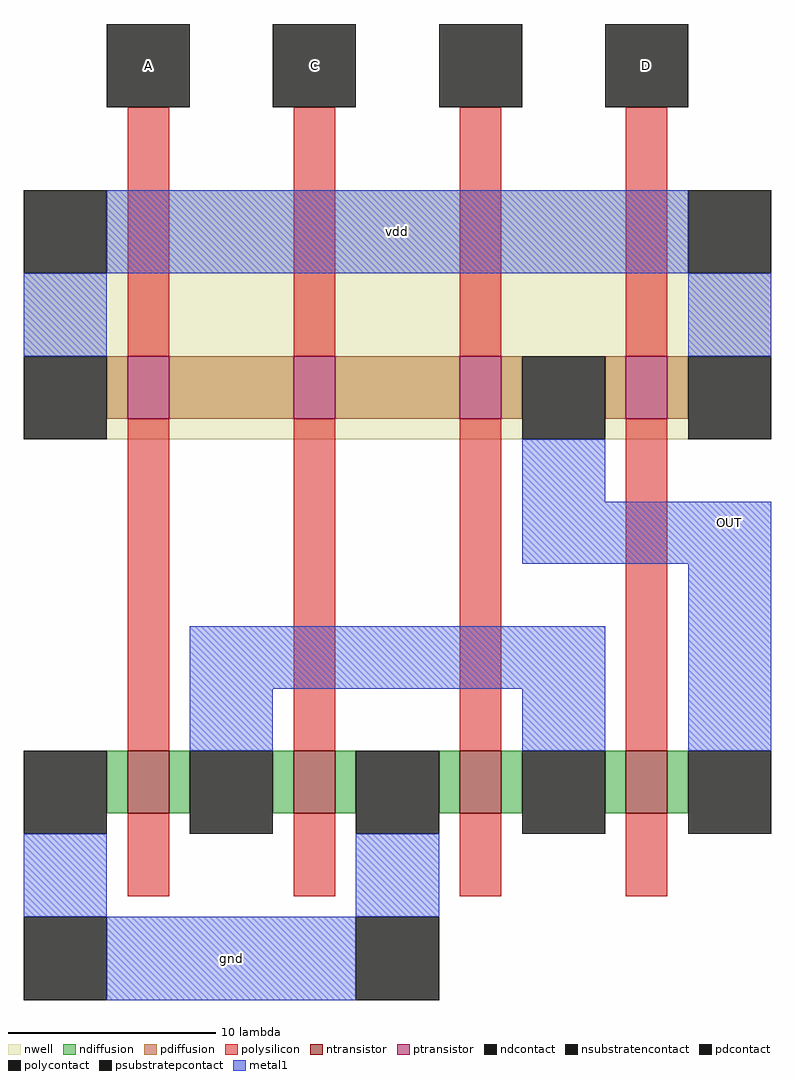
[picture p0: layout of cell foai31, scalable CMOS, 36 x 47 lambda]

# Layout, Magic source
magic
tech scmos
<< nwell >>
rect -30 14 6 26
<< polysilicon >>
rect -25 18 -23 30
rect -17 18 -15 30
rect -9 18 -7 30
rect -1 18 1 30
rect -25 -1 -23 15
rect -17 -1 -15 15
rect -9 -1 -7 15
rect -1 -1 1 15
rect -25 -8 -23 -4
rect -17 -8 -15 -4
rect -9 -8 -7 -4
rect -1 -8 1 -4
<< ndiffusion >>
rect -26 -4 -25 -1
rect -23 -4 -22 -1
rect -18 -4 -17 -1
rect -15 -4 -14 -1
rect -10 -4 -9 -1
rect -7 -4 -6 -1
rect -2 -4 -1 -1
rect 1 -4 2 -1
<< pdiffusion >>
rect -26 15 -25 18
rect -23 15 -17 18
rect -15 15 -9 18
rect -7 15 -6 18
rect -2 15 -1 18
rect 1 15 2 18
<< metal1 >>
rect -26 22 2 26
rect -30 18 -26 22
rect 2 18 6 22
rect -6 11 -2 14
rect -6 8 6 11
rect -22 2 -2 5
rect -22 -1 -18 2
rect -6 -1 -2 2
rect 2 -1 6 8
rect -30 -9 -26 -5
rect -14 -9 -10 -5
rect -26 -13 -14 -9
<< ntransistor >>
rect -25 -4 -23 -1
rect -17 -4 -15 -1
rect -9 -4 -7 -1
rect -1 -4 1 -1
<< ptransistor >>
rect -25 15 -23 18
rect -17 15 -15 18
rect -9 15 -7 18
rect -1 15 1 18
<< polycontact >>
rect -26 30 -22 34
rect -18 30 -14 34
rect -10 30 -6 34
rect -2 30 2 34
<< ndcontact >>
rect -30 -5 -26 -1
rect -22 -5 -18 -1
rect -14 -5 -10 -1
rect -6 -5 -2 -1
rect 2 -5 6 -1
<< pdcontact >>
rect -30 14 -26 18
rect -6 14 -2 18
rect 2 14 6 18
<< psubstratepcontact >>
rect -30 -13 -26 -9
rect -14 -13 -10 -9
<< nsubstratencontact >>
rect -30 22 -26 26
rect 2 22 6 26
<< labels >>
rlabel polycontact -26 30 -22 34 0 A
rlabel polycontact -2 30 2 34 0 D
rlabel space 2 8 6 12 0 OUT
rlabel metal1 -26 -13 -14 -9 0 gnd
rlabel nwell -30 22 6 26 0 vdd
rlabel metal1 1 8 6 11 0 out
rlabel polycontact -18 30 -14 34 0 C
<< end >>
